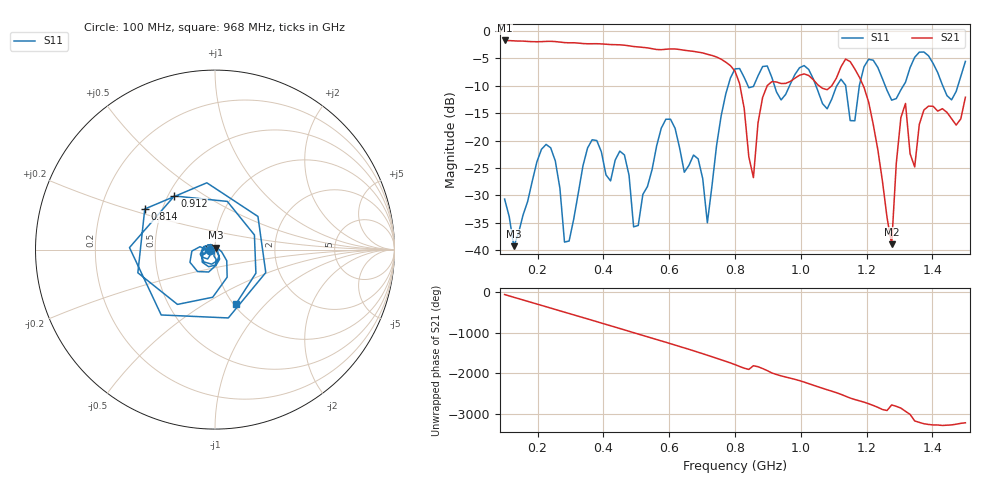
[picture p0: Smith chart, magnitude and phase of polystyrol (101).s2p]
! NanoVNA-App
! Date: 2025-09-26 09:42:40
! Start: 100MHz Stop: 1,5GHz Points: 101
! S-Parameter data: F S11 S21 S12 S22
# Hz S RI R 50
!  Frequency  S11_Real  S11_Imag  S21_Real  S21_Imag  S12_Real  S12_Imag  S22_Real  S22_Imag
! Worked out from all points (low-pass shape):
!   101 points, 100 MHz to 1.5 GHz, reference 50 ohm
!   highest |S21| = -1.79 dB at 100 MHz (marker M1); lowest = -38.9 dB at 1.276 GHz (marker M2)
!   |S21| within 3 dB of the highest: start of sweep to 743.3 MHz
!   lowest |S11| = -39.2 dB at 128 MHz (marker M3), VSWR 1.02, Z = 50.3 + j1.06 ohm
!   |S11| at or under -10 dB: start of sweep to 779.4 MHz; 1.046 GHz to 1.11 GHz (64.16 MHz wide, 5.95 % of centre); 1.256 GHz to 1.312 GHz (55.68 MHz wide, 4.34 % of centre)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
!   S12 and S22 are empty: the file has one direction only
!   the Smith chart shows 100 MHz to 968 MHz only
!   S11 on the Smith chart (normalised r, x): 100 MHz: 0.94, -0.01; 814 MHz: 0.40, +0.23; 912 MHz: 0.54, +0.37; 968 MHz: 1.02, -0.70
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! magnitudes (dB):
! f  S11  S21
! 100 MHz  -30.7  -1.8
! 128 MHz  -39.2  -1.9
! 212 MHz  -21.6  -2.0
! 282 MHz  -38.5  -2.2
! 338 MHz  -24.6  -2.4
! 464 MHz  -22.6  -2.6
! 506 MHz  -35.5  -3.0
! 576 MHz  -17.7  -3.5
! 688 MHz  -23.3  -3.9
! 716 MHz  -35.0  -4.3
! 800 MHz  -7.0  -7.4
! 814 MHz  -6.9  -9.6
! 856 MHz  -10.2  -26.7
! 912 MHz  -8.5  -9.3
! 968 MHz  -9.7  -9.2
! 1.038 GHz  -8.8  -8.9
! 1.178 GHz  -9.9  -8.5
! 1.276 GHz  -12.7  -38.9
! 1.318 GHz  -9.4  -13.3
! 1.346 GHz  -4.8  -24.8
! 1.374 GHz  -3.9  -14.4
! 1.5 GHz  -5.6  -12.1
